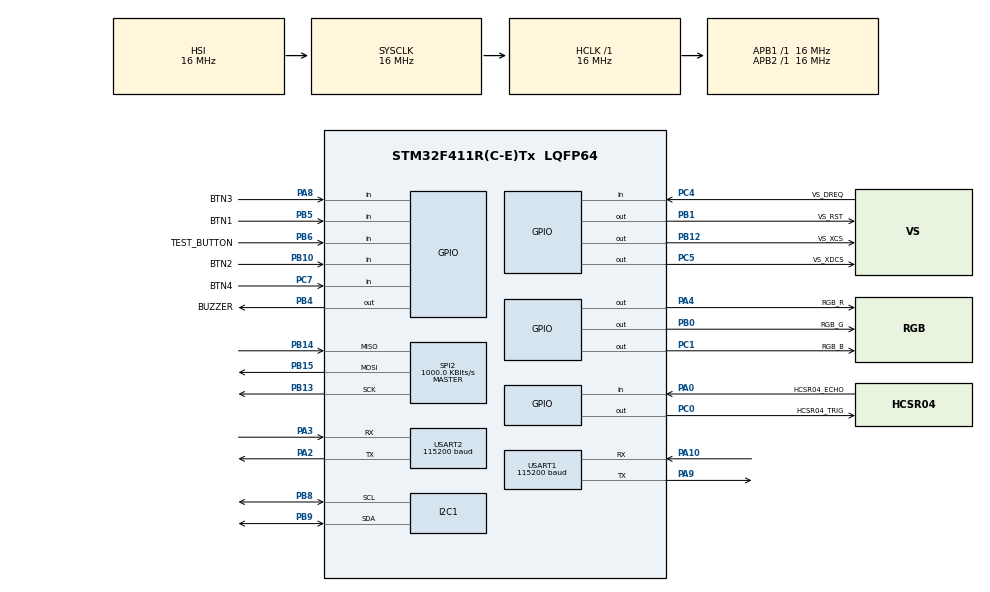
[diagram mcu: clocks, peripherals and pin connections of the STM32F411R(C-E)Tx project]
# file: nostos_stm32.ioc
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Mcu.Family=STM32F4
Mcu.Name=STM32F411R(C-E)Tx
Mcu.Package=LQFP64
NVIC.PriorityGroup=NVIC_PRIORITYGROUP_4
NVIC.USART2_IRQn=true\:0\:0\:false\:false\:true\:true\:true\:true
NVIC.USART1_IRQn=true\:0\:0\:false\:false\:true\:true\:true\:true
PA0-WKUP.GPIO_Label=HCSR04_ECHO
PA0-WKUP.GPIO_PuPd=GPIO_PULLDOWN
PA0-WKUP.Signal=GPIO_Input
PA2.Mode=Asynchronous
PA2.Signal=USART2_TX
PA3.Mode=Asynchronous
PA3.Signal=USART2_RX
PA9.Mode=Asynchronous
PA9.Signal=USART1_TX
PA10.Mode=Asynchronous
PA10.Signal=USART1_RX
PA4.GPIO_Label=RGB_R
PA4.Signal=GPIO_Output
PA8.GPIO_Label=BTN3
PA8.GPIO_PuPd=GPIO_PULLUP
PA8.Signal=GPIO_Input
PB0.GPIO_Label=RGB_G
PB0.Signal=GPIO_Output
PB1.GPIO_Label=VS_RST
PB1.PinState=GPIO_PIN_SET
PB1.Signal=GPIO_Output
PB10.GPIO_Label=BTN2
PB10.GPIO_PuPd=GPIO_PULLUP
PB10.Signal=GPIO_Input
PB12.GPIO_Label=VS_XCS
PB12.PinState=GPIO_PIN_SET
PB12.Signal=GPIO_Output
PB13.Mode=Full_Duplex_Master
PB13.Signal=SPI2_SCK
PB14.Mode=Full_Duplex_Master
PB14.Signal=SPI2_MISO
PB15.Mode=Full_Duplex_Master
PB15.Signal=SPI2_MOSI
PB4.GPIO_Label=BUZZER
PB4.Signal=GPIO_Output
PB5.GPIO_Label=BTN1
PB5.GPIO_PuPd=GPIO_PULLUP
PB5.Signal=GPIO_Input
PB6.GPIO_Label=TEST_BUTTON
PB6.GPIO_PuPd=GPIO_PULLUP
PB6.Signal=GPIO_Input
PB8.GPIO_Pu=GPIO_PULLUP
PB8.Mode=I2C
PB8.Signal=I2C1_SCL
PB9.GPIO_Pu=GPIO_PULLUP
PB9.Mode=I2C
PB9.Signal=I2C1_SDA
PC0.GPIO_Label=HCSR04_TRIG
PC0.GPIO_Speed=GPIO_SPEED_FREQ_HIGH
PC0.Signal=GPIO_Output
PC1.GPIO_Label=RGB_B
PC1.Signal=GPIO_Output
PC4.GPIO_Label=VS_DREQ
PC4.Signal=GPIO_Input
PC5.GPIO_Label=VS_XDCS
PC5.PinState=GPIO_PIN_SET
PC5.Signal=GPIO_Output
PC7.GPIO_Label=BTN4
PC7.GPIO_PuPd=GPIO_PULLUP
PC7.Signal=GPIO_Input
ProjectManager.HeapSize=0x200
ProjectManager.StackSize=0x400
ProjectManager.TargetToolchain=CMake
RCC.AHBFreq_Value=16000000
RCC.APB1Freq_Value=16000000
RCC.APB2Freq_Value=16000000
RCC.CortexFreq_Value=16000000
RCC.HSE_VALUE=25000000
RCC.HSI_VALUE=16000000
RCC.LSE_VALUE=32768
RCC.SYSCLKFreq_VALUE=16000000
RCC.VCOOutputFreq_Value=192000000
SPI2.BaudRatePrescaler=SPI_BAUDRATEPRESCALER_16
SPI2.CalculateBaudRate=1000.0 KBits/s
SPI2.Direction=SPI_DIRECTION_2LINES
SPI2.Mode=SPI_MODE_MASTER
SPI2.VirtualType=VM_MASTER
USART2.BaudRate=115200
USART2.VirtualMode=VM_ASYNC
USART1.BaudRate=115200
USART1.VirtualMode=VM_ASYNC
board=custom

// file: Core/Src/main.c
/* USER CODE BEGIN Header */
/**
  ******************************************************************************
  * @file           : main.c
  * @brief          : Main program body
  ******************************************************************************
  * @attention
  *
  * Copyright (c) 2026 STMicroelectronics.
  * All rights reserved.
  *
  * This software is licensed under terms that can be found in the LICENSE file
  * in the root directory of this software component.
  * If no LICENSE file comes with this software, it is provided AS-IS.
  *
  ******************************************************************************
  */
/* USER CODE END Header */
#include "main.h"

/* USER CODE BEGIN Includes */
#include "app.h"
#include "app_config.h"
#include "safety_service.h"
#if FEATURE_BUTTON_OUTPUT_TEST
#include "button_output_test.h"
#endif
#include "uart_service.h"
/* USER CODE END Includes */

I2C_HandleTypeDef hi2c1;

SPI_HandleTypeDef hspi2;

UART_HandleTypeDef huart1;
UART_HandleTypeDef huart2;

void SystemClock_Config(void);
static void MX_GPIO_Init(void);
static void MX_SPI2_Init(void);
static void MX_USART2_UART_Init(void);
static void MX_USART1_UART_Init(void);
static void MX_I2C1_Init(void);

int main(void)
{

  /* MCU Configuration--------------------------------------------------------*/

  /* Reset of all peripherals, Initializes the Flash interface and the Systick. */
  HAL_Init();

  /* Configure the system clock */
  SystemClock_Config();

  /* Initialize all configured peripherals */
  MX_GPIO_Init();
  MX_SPI2_Init();
  MX_USART2_UART_Init();
  MX_USART1_UART_Init();
  MX_I2C1_Init();
  /* USER CODE BEGIN 2 */
  app_init(&hspi2, &huart1, &hi2c1);
#if FEATURE_BUTTON_OUTPUT_TEST
  button_output_test_init();
#else
  /* USART1 D8/PA9 -> ESP32, USART2 -> ST-LINK USB 캘리브레이션 텍스트 로그. */
  safety_service_set_log_uart(&huart2);
#endif
  /* USER CODE END 2 */

  /* Infinite loop */
  while (1)
  {

    /* USER CODE BEGIN 3 */
#if FEATURE_BUTTON_OUTPUT_TEST
    button_output_test_process();
#else
    app_process();
#endif
  }
  /* USER CODE END 3 */
}

void SystemClock_Config(void)
{
  RCC_OscInitTypeDef RCC_OscInitStruct = {0};
  RCC_ClkInitTypeDef RCC_ClkInitStruct = {0};

  /** Configure the main internal regulator output voltage
  */
  __HAL_RCC_PWR_CLK_ENABLE();
  __HAL_PWR_VOLTAGESCALING_CONFIG(PWR_REGULATOR_VOLTAGE_SCALE1);

  /** Initializes the RCC Oscillators according to the specified parameters
  * in the RCC_OscInitTypeDef structure.
  */
  RCC_OscInitStruct.OscillatorType = RCC_OSCILLATORTYPE_HSI;
  RCC_OscInitStruct.HSIState = RCC_HSI_ON;
  RCC_OscInitStruct.HSICalibrationValue = RCC_HSICALIBRATION_DEFAULT;
  RCC_OscInitStruct.PLL.PLLState = RCC_PLL_NONE;
  if (HAL_RCC_OscConfig(&RCC_OscInitStruct) != HAL_OK)
  {
    Error_Handler();
  }

  /** Initializes the CPU, AHB and APB buses clocks
  */
  RCC_ClkInitStruct.ClockType = RCC_CLOCKTYPE_HCLK|RCC_CLOCKTYPE_SYSCLK
                              |RCC_CLOCKTYPE_PCLK1|RCC_CLOCKTYPE_PCLK2;
  RCC_ClkInitStruct.SYSCLKSource = RCC_SYSCLKSOURCE_HSI;
  RCC_ClkInitStruct.AHBCLKDivider = RCC_SYSCLK_DIV1;
  RCC_ClkInitStruct.APB1CLKDivider = RCC_HCLK_DIV1;
  RCC_ClkInitStruct.APB2CLKDivider = RCC_HCLK_DIV1;

  if (HAL_RCC_ClockConfig(&RCC_ClkInitStruct, FLASH_LATENCY_0) != HAL_OK)
  {
    Error_Handler();
  }
}

static void MX_I2C1_Init(void)
{

  hi2c1.Instance = I2C1;
  hi2c1.Init.ClockSpeed = 100000;
  hi2c1.Init.DutyCycle = I2C_DUTYCYCLE_2;
  hi2c1.Init.OwnAddress1 = 0;
  hi2c1.Init.AddressingMode = I2C_ADDRESSINGMODE_7BIT;
  hi2c1.Init.DualAddressMode = I2C_DUALADDRESS_DISABLE;
  hi2c1.Init.OwnAddress2 = 0;
  hi2c1.Init.GeneralCallMode = I2C_GENERALCALL_DISABLE;
  hi2c1.Init.NoStretchMode = I2C_NOSTRETCH_DISABLE;
  if (HAL_I2C_Init(&hi2c1) != HAL_OK)
  {
    Error_Handler();
  }

}

static void MX_SPI2_Init(void)
{

  /* SPI2 parameter configuration*/
  hspi2.Instance = SPI2;
  hspi2.Init.Mode = SPI_MODE_MASTER;
  hspi2.Init.Direction = SPI_DIRECTION_2LINES;
  hspi2.Init.DataSize = SPI_DATASIZE_8BIT;
  hspi2.Init.CLKPolarity = SPI_POLARITY_LOW;
  hspi2.Init.CLKPhase = SPI_PHASE_1EDGE;
  hspi2.Init.NSS = SPI_NSS_SOFT;
  hspi2.Init.BaudRatePrescaler = SPI_BAUDRATEPRESCALER_16;
  hspi2.Init.FirstBit = SPI_FIRSTBIT_MSB;
  hspi2.Init.TIMode = SPI_TIMODE_DISABLE;
  hspi2.Init.CRCCalculation = SPI_CRCCALCULATION_DISABLE;
  hspi2.Init.CRCPolynomial = 10;
  if (HAL_SPI_Init(&hspi2) != HAL_OK)
  {
    Error_Handler();
  }

}

static void MX_USART1_UART_Init(void)
{
  huart1.Instance = USART1;
  huart1.Init.BaudRate = 115200;
  huart1.Init.WordLength = UART_WORDLENGTH_8B;
  huart1.Init.StopBits = UART_STOPBITS_1;
  huart1.Init.Parity = UART_PARITY_NONE;
  huart1.Init.Mode = UART_MODE_TX_RX;
  huart1.Init.HwFlowCtl = UART_HWCONTROL_NONE;
  huart1.Init.OverSampling = UART_OVERSAMPLING_16;
  if (HAL_UART_Init(&huart1) != HAL_OK)
  {
    Error_Handler();
  }
}

static void MX_USART2_UART_Init(void)
{

  huart2.Instance = USART2;
  huart2.Init.BaudRate = 115200;
  huart2.Init.WordLength = UART_WORDLENGTH_8B;
  huart2.Init.StopBits = UART_STOPBITS_1;
  huart2.Init.Parity = UART_PARITY_NONE;
  huart2.Init.Mode = UART_MODE_TX_RX;
  huart2.Init.HwFlowCtl = UART_HWCONTROL_NONE;
  huart2.Init.OverSampling = UART_OVERSAMPLING_16;
  if (HAL_UART_Init(&huart2) != HAL_OK)
  {
    Error_Handler();
  }

}

static void MX_GPIO_Init(void)
{
  GPIO_InitTypeDef GPIO_InitStruct = {0};

  /* GPIO Ports Clock Enable */
  __HAL_RCC_GPIOC_CLK_ENABLE();
  __HAL_RCC_GPIOA_CLK_ENABLE();
  __HAL_RCC_GPIOB_CLK_ENABLE();

  /*Configure GPIO pin Output Level */
  HAL_GPIO_WritePin(GPIOC, HCSR04_TRIG_Pin|RGB_B_Pin, GPIO_PIN_RESET);

  /*Configure GPIO pin Output Level */
  HAL_GPIO_WritePin(RGB_R_GPIO_Port, RGB_R_Pin, GPIO_PIN_RESET);

  /*Configure GPIO pin Output Level */
  HAL_GPIO_WritePin(VS_XDCS_GPIO_Port, VS_XDCS_Pin, GPIO_PIN_SET);

  /*Configure GPIO pin Output Level */
  HAL_GPIO_WritePin(GPIOB, RGB_G_Pin|BUZZER_Pin, GPIO_PIN_RESET);

  /*Configure GPIO pin Output Level */
  HAL_GPIO_WritePin(GPIOB, VS_RST_Pin|VS_XCS_Pin, GPIO_PIN_SET);

  /*Configure GPIO pin : HCSR04_TRIG_Pin */
  GPIO_InitStruct.Pin = HCSR04_TRIG_Pin;
  GPIO_InitStruct.Mode = GPIO_MODE_OUTPUT_PP;
  GPIO_InitStruct.Pull = GPIO_NOPULL;
  GPIO_InitStruct.Speed = GPIO_SPEED_FREQ_HIGH;
  HAL_GPIO_Init(HCSR04_TRIG_GPIO_Port, &GPIO_InitStruct);

  /*Configure GPIO pins : RGB_B_Pin VS_XDCS_Pin */
  GPIO_InitStruct.Pin = RGB_B_Pin|VS_XDCS_Pin;
  GPIO_InitStruct.Mode = GPIO_MODE_OUTPUT_PP;
  GPIO_InitStruct.Pull = GPIO_NOPULL;
  GPIO_InitStruct.Speed = GPIO_SPEED_FREQ_LOW;
  HAL_GPIO_Init(GPIOC, &GPIO_InitStruct);

  /*Configure GPIO pin : HCSR04_ECHO_Pin */
  GPIO_InitStruct.Pin = HCSR04_ECHO_Pin;
  GPIO_InitStruct.Mode = GPIO_MODE_INPUT;
  GPIO_InitStruct.Pull = GPIO_PULLDOWN;
  HAL_GPIO_Init(HCSR04_ECHO_GPIO_Port, &GPIO_InitStruct);

  /*Configure GPIO pin : RGB_R_Pin */
  GPIO_InitStruct.Pin = RGB_R_Pin;
  GPIO_InitStruct.Mode = GPIO_MODE_OUTPUT_PP;
  GPIO_InitStruct.Pull = GPIO_NOPULL;
  GPIO_InitStruct.Speed = GPIO_SPEED_FREQ_LOW;
  HAL_GPIO_Init(RGB_R_GPIO_Port, &GPIO_InitStruct);

  /*Configure GPIO pin : VS_DREQ_Pin */
  GPIO_InitStruct.Pin = VS_DREQ_Pin;
  GPIO_InitStruct.Mode = GPIO_MODE_INPUT;
  GPIO_InitStruct.Pull = GPIO_NOPULL;
  HAL_GPIO_Init(VS_DREQ_GPIO_Port, &GPIO_InitStruct);

  /*Configure GPIO pins : RGB_G_Pin VS_RST_Pin VS_XCS_Pin BUZZER_Pin */
  GPIO_InitStruct.Pin = RGB_G_Pin|VS_RST_Pin|VS_XCS_Pin|BUZZER_Pin;
  GPIO_InitStruct.Mode = GPIO_MODE_OUTPUT_PP;
  GPIO_InitStruct.Pull = GPIO_NOPULL;
  GPIO_InitStruct.Speed = GPIO_SPEED_FREQ_LOW;
  HAL_GPIO_Init(GPIOB, &GPIO_InitStruct);

  /*Configure GPIO pins : BTN2_Pin BTN1_Pin */
  GPIO_InitStruct.Pin = BTN2_Pin|BTN1_Pin;
  GPIO_InitStruct.Mode = GPIO_MODE_INPUT;
  GPIO_InitStruct.Pull = GPIO_PULLUP;
  HAL_GPIO_Init(GPIOB, &GPIO_InitStruct);

  /*Configure GPIO pin : BTN4_Pin */
  GPIO_InitStruct.Pin = BTN4_Pin;
  GPIO_InitStruct.Mode = GPIO_MODE_INPUT;
  GPIO_InitStruct.Pull = GPIO_PULLUP;
  HAL_GPIO_Init(BTN4_GPIO_Port, &GPIO_InitStruct);

  /*Configure GPIO pin : BTN3_Pin */
  GPIO_InitStruct.Pin = BTN3_Pin;
  GPIO_InitStruct.Mode = GPIO_MODE_INPUT;
  GPIO_InitStruct.Pull = GPIO_PULLUP;
  HAL_GPIO_Init(BTN3_GPIO_Port, &GPIO_InitStruct);

  /*Configure GPIO pin : TEST_BUTTON_Pin (D10/PB6, button to GND) */
  GPIO_InitStruct.Pin = TEST_BUTTON_Pin;
  GPIO_InitStruct.Mode = GPIO_MODE_INPUT;
  GPIO_InitStruct.Pull = GPIO_PULLUP;
  HAL_GPIO_Init(TEST_BUTTON_GPIO_Port, &GPIO_InitStruct);

}

void Error_Handler(void)
{
  __disable_irq();
  while (1)
  {
  }
}
